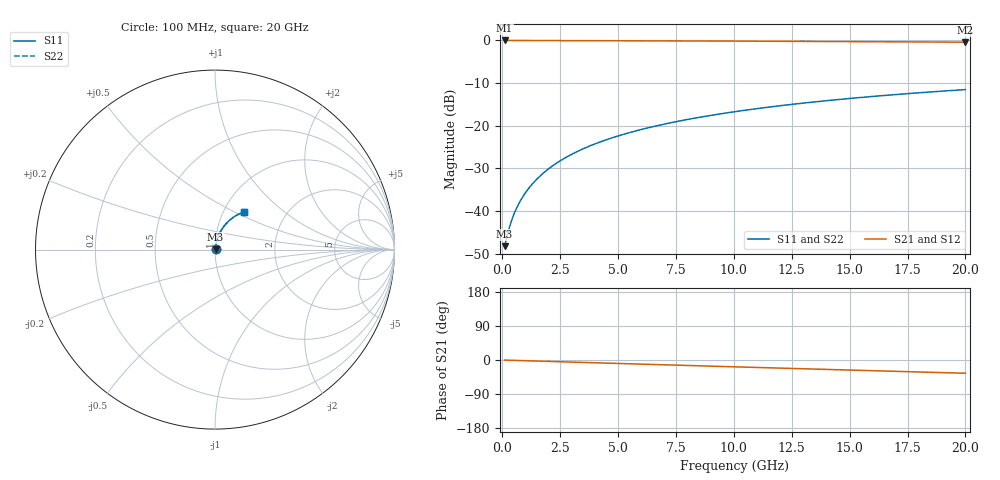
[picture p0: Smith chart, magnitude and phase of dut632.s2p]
! Touchstone file exported from HFSS 2026.1.0
!  File:  C:/ffzhzh/LocalFiles/Ansys_Project_Files/temp_train_TMRDL_632_1783009205_4048.aedt
!  Generated:  12:21:22 AM Jul  3, 2026
!  Design:  TMRDL
!  Project:  temp_train_TMRDL_632_1783009205_4048
! Variables:
!  h_bsmrdl = 2um
!  h_ox = 20um
!  h_rdl = 5um
!  h_sub = 80um
!  h_tmrdl = 3.59um
!  h_tsv = 80um
!  h_via = 3um
!  l_bsmrdl = 300um
!  l_sub = 951.78um
!  l_tmrdl = 551.78um
!  m_sub = 200um
!  pitch = 30.39um
!  r_tsv = 6um
!  s_tmrdl = 10um
!  w_bsmrdl = 18um
!  w_sub = 500um
!  w_tmrdl = 16.51um
!  x_tsv_center1 = 560.035um
!  x_tsv_center2 = 878.035um
!  x_tsv_center3 = 1446.325um
!  x_tsv_center4 = 1764.325um
!  x_tsv_center5 = 2332.615um
!  x_tsv_center6 = 2650.615um
# GHz S MA R 50.000000
! Terminal data exported
! Port[1] = TM_RDL1_1_T1
! Port[2] = TM_RDL1_1_T2
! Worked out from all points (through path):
!   200 points, 100 MHz to 20 GHz, reference 50 ohm
!   highest |S21| = -0.03 dB at 100 MHz (marker M1); lowest = -0.4 dB at 20 GHz (marker M2)
!   group delay of S21, straight-line fit = 4.84 ps
!   lowest |S11| = -48.2 dB at 100 MHz (marker M3), VSWR 1.01, Z = 50.3 + j0.177 ohm
!   |S11| at or under -10 dB: start of sweep to end of sweep
!   |S22| runs from -48.2 to -11.5 dB; largest |S21 - S12| = 4.3e-15
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0.1  0.003875 27.0  0.9966 -0.2  0.9966 -0.2  0.003875 27.0
! Gamma 0 0 0 0
! Port Impedance 50 0 50 0
0.3  0.006339 53.2  0.9962 -0.6  0.9962 -0.6  0.006339 53.2
0.4  0.007739 59.0  0.9961 -0.8  0.9961 -0.8  0.007739 59.0
0.5  0.009153 63.0  0.996 -1.0  0.996 -1.0  0.009153 63.0
0.6  0.01058 65.9  0.9958 -1.1  0.9958 -1.1  0.01058 65.9
0.8  0.01345 70.0  0.9957 -1.5  0.9957 -1.5  0.01345 70.0
1  0.01636 72.6  0.9955 -1.9  0.9955 -1.9  0.01636 72.6
1.2  0.01931 74.4  0.9954 -2.2  0.9954 -2.2  0.01931 74.4
1.4  0.02228 75.6  0.9952 -2.6  0.9952 -2.6  0.02228 75.6
1.7  0.02676 76.8  0.995 -3.1  0.995 -3.1  0.02676 76.8
2.2  0.03426 77.8  0.9946 -4.1  0.9946 -4.1  0.03426 77.8
2.8  0.04327 78.0  0.994 -5.2  0.994 -5.2  0.04327 78.0
3.5  0.05372 77.7  0.9931 -6.4  0.9931 -6.4  0.05372 77.7
4.2  0.06408 77.0  0.9921 -7.7  0.9921 -7.7  0.06408 77.0
5  0.0758 76.0  0.9907 -9.1  0.9907 -9.1  0.0758 76.0
5.9  0.08878 74.7  0.9891 -10.8  0.9891 -10.8  0.08878 74.7
6.8  0.1016 73.4  0.9873 -12.4  0.9873 -12.4  0.1016 73.4
8.3  0.1224 71.0  0.984 -15.0  0.984 -15.0  0.1224 71.0
10.1  0.1466 68.1  0.9796 -18.2  0.9796 -18.2  0.1466 68.1
13.4  0.1889 62.8  0.9709 -23.9  0.9709 -23.9  0.1889 62.8
16.7  0.2283 57.5  0.9613 -29.4  0.9613 -29.4  0.2283 57.5
20  0.2647 52.3  0.9512 -34.9  0.9512 -34.9  0.2647 52.3
